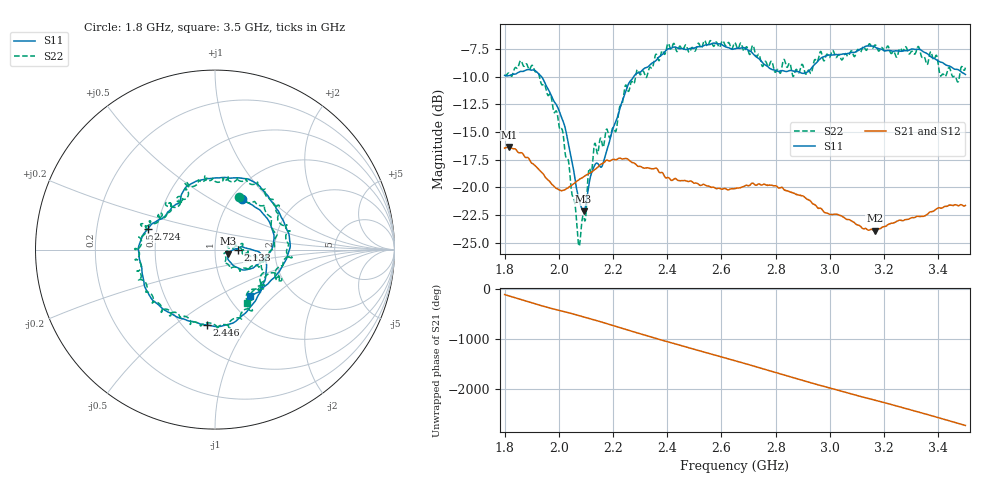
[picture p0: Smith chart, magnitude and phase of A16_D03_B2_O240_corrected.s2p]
! Created with skrf 1.9.0 (http://scikit-rf.org).
# Hz S RI R 50.0
!freq ReS11 ImS11 ReS21 ImS21 ReS12 ImS12 ReS22 ImS22
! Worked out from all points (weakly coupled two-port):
!   1601 points, 1.8 GHz to 3.5 GHz, reference 50 ohm
!   highest |S21| = -16.35 dB at 1.817 GHz (marker M1); lowest = -23.9 dB at 3.165 GHz (marker M2)
!   lowest |S11| = -22.2 dB at 2.091 GHz (marker M3), VSWR 1.17, Z = 58 - j2.71 ohm
!   |S11| at or under -10 dB: 1.936 GHz to 2.277 GHz (340.6 MHz wide, 16.2 % of centre)
!   |S22| runs from -25.3 to -6.7 dB; largest |S21 - S12| = 0.0026
!   S11 on the Smith chart (normalised r, x): 1.8 GHz: 1.13, +0.71; 2.133 GHz: 1.29, -0.00; 2.446 GHz: 0.65, -0.66; 2.724 GHz: 0.45, +0.12; 3.5 GHz: 1.25, -0.72
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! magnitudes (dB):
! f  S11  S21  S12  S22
! 1.8 GHz  -9.9  -16.5  -16.5  -9.9
! 1.817 GHz  -9.9  -16.3  -16.4  -9.7
! 1.903 GHz  -9.4  -17.8  -17.8  -9.0
! 1.968 GHz  -11.5  -19.5  -19.6  -11.6
! 2.015 GHz  -14.0  -20.3  -20.3  -15.0
! 2.072 GHz  -20.8  -19.3  -19.4  -25.0
! 2.084 GHz  -21.8  -19.2  -19.1  -23.3
! 2.091 GHz  -22.2  -19.0  -19.1  -22.6
! 2.133 GHz  -18.0  -18.4  -18.4  -16.0
! 2.163 GHz  -17.8  -17.8  -17.7  -16.4
! 2.26 GHz  -10.5  -17.6  -17.6  -11.2
! 2.367 GHz  -8.3  -18.5  -18.5  -8.5
! 2.446 GHz  -7.5  -19.4  -19.4  -7.3
! 2.65 GHz  -7.5  -20.1  -20.1  -6.9
! 2.724 GHz  -8.1  -19.8  -19.7  -7.9
! 2.803 GHz  -9.5  -19.9  -19.9  -9.5
! 2.934 GHz  -9.2  -21.4  -21.4  -9.6
! 3.165 GHz  -7.3  -23.9  -23.9  -7.2
! 3.217 GHz  -7.6  -23.3  -23.3  -7.4
! 3.327 GHz  -7.5  -22.6  -22.6  -7.3
! 3.468 GHz  -9.4  -21.6  -21.6  -10.3
! 3.5 GHz  -9.8  -21.6  -21.6  -9.2
